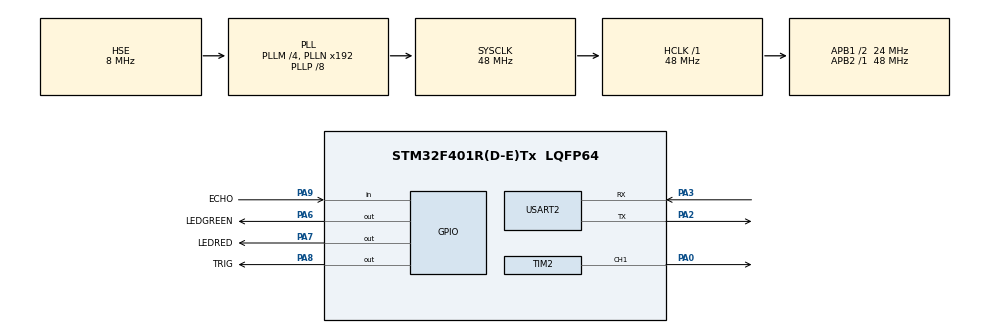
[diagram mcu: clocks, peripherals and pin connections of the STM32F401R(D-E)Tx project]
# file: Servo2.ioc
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Mcu.Family=STM32F4
Mcu.Name=STM32F401R(D-E)Tx
Mcu.Package=LQFP64
NVIC.PriorityGroup=NVIC_PRIORITYGROUP_0
NVIC.USART2_IRQn=true\:0\:0\:false\:false\:true\:true\:true\:true
PA0-WKUP.Signal=S_TIM2_CH1_ETR
PA13.Mode=Serial_Wire
PA13.Signal=SYS_JTMS-SWDIO
PA14.Mode=Serial_Wire
PA14.Signal=SYS_JTCK-SWCLK
PA2.Mode=Asynchronous
PA2.Signal=USART2_TX
PA3.Mode=Asynchronous
PA3.Signal=USART2_RX
PA6.GPIO_Label=LEDGREEN
PA6.Signal=GPIO_Output
PA7.GPIO_Label=LEDRED
PA7.Signal=GPIO_Output
PA8.GPIO_Label=TRIG
PA8.Signal=GPIO_Output
PA9.GPIO_Label=ECHO
PA9.Signal=GPIO_Input
PC14-OSC32_IN.Mode=LSE-External-Oscillator
PC14-OSC32_IN.Signal=RCC_OSC32_IN
PC15-OSC32_OUT.Mode=LSE-External-Oscillator
PC15-OSC32_OUT.Signal=RCC_OSC32_OUT
PH0\ -\ OSC_IN.Mode=HSE-External-Oscillator
PH0\ -\ OSC_IN.Signal=RCC_OSC_IN
PH1\ -\ OSC_OUT.Mode=HSE-External-Oscillator
PH1\ -\ OSC_OUT.Signal=RCC_OSC_OUT
ProjectManager.HeapSize=0x200
ProjectManager.StackSize=0x400
ProjectManager.TargetToolchain=STM32CubeIDE
RCC.48MHZClocksFreq_Value=54857142.85714286
RCC.AHBFreq_Value=48000000
RCC.APB1CLKDivider=RCC_HCLK_DIV2
RCC.APB1Freq_Value=24000000
RCC.APB1TimFreq_Value=48000000
RCC.APB2Freq_Value=48000000
RCC.APB2TimFreq_Value=48000000
RCC.CortexFreq_Value=48000000
RCC.HCLKFreq_Value=48000000
RCC.HSE_VALUE=8000000
RCC.HSI_VALUE=16000000
RCC.PLLM=4
RCC.PLLP=RCC_PLLP_DIV8
RCC.PLLQ=7
RCC.PLLSourceVirtual=RCC_PLLSOURCE_HSE
RCC.SYSCLKFreq_VALUE=48000000
RCC.SYSCLKSource=RCC_SYSCLKSOURCE_PLLCLK
RCC.VCOOutputFreq_Value=384000000
SH.S_TIM2_CH1_ETR.0=TIM2_CH1,PWM Generation1 CH1
TIM2.Channel-PWM\ Generation1\ CH1=TIM_CHANNEL_1
TIM2.Period=1000
TIM2.Prescaler=960-1
TIM4.Prescaler=48-1
USART2.VirtualMode=VM_ASYNC
VP_TIM2_VS_ClockSourceINT.Mode=Internal
VP_TIM4_VS_ClockSourceINT.Mode=Internal
board=NUCLEO-F401RE

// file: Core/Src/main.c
/* USER CODE BEGIN Header */
/**
  ******************************************************************************
  * @file           : main.c
  * @brief          : Main program body
  ******************************************************************************
  * @attention
  *
  * Copyright (c) 2022 STMicroelectronics.
  * All rights reserved.
  *
  * This software is licensed under terms that can be found in the LICENSE file
  * in the root directory of this software component.
  * If no LICENSE file comes with this software, it is provided AS-IS.
  *
  ******************************************************************************
  */
/* USER CODE END Header */
#include "main.h"

/* USER CODE BEGIN Includes */
#include <string.h>
#include <stdio.h>
/* USER CODE END Includes */

/* USER CODE BEGIN PTD */
#define usTIM TIM4

/* USER CODE END PTD */

TIM_HandleTypeDef htim2;
TIM_HandleTypeDef htim4;

UART_HandleTypeDef huart2;

void SystemClock_Config(void);
static void MX_GPIO_Init(void);
static void MX_TIM2_Init(void);
static void MX_TIM4_Init(void);
static void MX_USART2_UART_Init(void);
/* USER CODE BEGIN PFP */

//function contain an argument an int value : uint32_t ...;  Valeur entre 0 et 4 294 967 295
void usDelay(uint32_t uSec );

/* USER CODE END PFP */

/* USER CODE BEGIN 0 */

//Speed of sound in cm/usec
//the onde will be go and back so 2 routes that's why we divide it by 2
const float speedOfSound = 0.0343/2;
float distance;

char uartBuf[100];

/* USER CODE END 0 */

int main(void)
{
  /* USER CODE BEGIN 1 */
	uint32_t numTicks = 0;

  /* USER CODE END 1 */

  /* MCU Configuration--------------------------------------------------------*/

  /* Reset of all peripherals, Initializes the Flash interface and the Systick. */
  HAL_Init();

  /* Configure the system clock */
  SystemClock_Config();

  /* Initialize all configured peripherals */
  MX_GPIO_Init();
  MX_TIM2_Init();
  MX_TIM4_Init();
  MX_USART2_UART_Init();
  /* USER CODE BEGIN 2 */
  //working on timer for ch2
  HAL_TIM_PWM_Start(&htim2, TIM_CHANNEL_1);

  /* USER CODE END 2 */

  /* Infinite loop */
  /* USER CODE BEGIN WHILE */
  while (1)
  {
	  //ULTRASon Configuration
		HAL_GPIO_WritePin(TRIG_GPIO_Port, TRIG_Pin, GPIO_PIN_RESET);
				usDelay(3);

				//*** START Ultrasonic measure routine ***//
				//1. Output 10 usec TRIG
				HAL_GPIO_WritePin(TRIG_GPIO_Port, TRIG_Pin, GPIO_PIN_SET);
				usDelay(10);
				HAL_GPIO_WritePin(TRIG_GPIO_Port, TRIG_Pin, GPIO_PIN_RESET);

				//2. Wait for ECHO pin rising edge
				while(HAL_GPIO_ReadPin(ECHO_GPIO_Port, ECHO_Pin) == GPIO_PIN_RESET);

				//3. Start measuring ECHO pulse width in usec
				numTicks = 0;
				while(HAL_GPIO_ReadPin(ECHO_GPIO_Port, ECHO_Pin) == GPIO_PIN_SET)
				{
					numTicks++;
					usDelay(2); //2.8usec
				};

				//4. Estimate distance in cm
				distance = (numTicks + 0.0f)*2.8*speedOfSound;

				//5. Print to UART terminal for debugging
				sprintf(uartBuf, "Distance (cm)  = %.1f\r\n", distance);
				HAL_UART_Transmit(&huart2, (uint8_t *)uartBuf, strlen(uartBuf), 100);

				HAL_Delay(1000);
				//Set TRIG to LOW for few uSec
					HAL_GPIO_WritePin(TRIG_GPIO_Port, TRIG_Pin, GPIO_PIN_RESET);
					usDelay(3);

if(distance<300){
	//Blink led RED at this Condition
	HAL_GPIO_WritePin(LEDRED_GPIO_Port, LEDRED_Pin, GPIO_PIN_SET);
	HAL_GPIO_WritePin(LEDGREEN_GPIO_Port, LEDGREEN_Pin, GPIO_PIN_RESET);
	sprintf(uartBuf, "Le parking1 est Occuppee \n ");

//the Servo Motor configuration
		HAL_UART_Transmit(&huart2, (uint8_t *)uartBuf, strlen(uartBuf), 100);
	  //CCR1  register correspond au cycle du signal pwm
htim2.Instance->CCR1=25; //0.5ms
 HAL_Delay(2000);

htim2.Instance->CCR1=50; //1.5ms
 HAL_Delay(2000);

htim2.Instance->CCR1=75; //2.5ms
 HAL_Delay(2000);

 htim2.Instance->CCR1=100; //2.5ms
  HAL_Delay(2000);

  htim2.Instance->CCR1=125; //2.5ms
   HAL_Delay(2000);

  }
else{
	//Blink led Green at this condition
	HAL_GPIO_WritePin(LEDGREEN_GPIO_Port, LEDGREEN_Pin, GPIO_PIN_SET);
	HAL_GPIO_WritePin(LEDRED_GPIO_Port, LEDRED_Pin, GPIO_PIN_RESET);
	sprintf(uartBuf, "Le parking est disponible \n");
	HAL_UART_Transmit(&huart2, (uint8_t *)uartBuf, strlen(uartBuf), 100);

}
  }
    /* USER CODE END WHILE */

}

void SystemClock_Config(void)
{
  RCC_OscInitTypeDef RCC_OscInitStruct = {0};
  RCC_ClkInitTypeDef RCC_ClkInitStruct = {0};

  /** Configure the main internal regulator output voltage
  */
  __HAL_RCC_PWR_CLK_ENABLE();
  __HAL_PWR_VOLTAGESCALING_CONFIG(PWR_REGULATOR_VOLTAGE_SCALE2);

  /** Initializes the RCC Oscillators according to the specified parameters
  * in the RCC_OscInitTypeDef structure.
  */
  RCC_OscInitStruct.OscillatorType = RCC_OSCILLATORTYPE_HSE;
  RCC_OscInitStruct.HSEState = RCC_HSE_ON;
  RCC_OscInitStruct.PLL.PLLState = RCC_PLL_ON;
  RCC_OscInitStruct.PLL.PLLSource = RCC_PLLSOURCE_HSE;
  RCC_OscInitStruct.PLL.PLLM = 4;
  RCC_OscInitStruct.PLL.PLLN = 192;
  RCC_OscInitStruct.PLL.PLLP = RCC_PLLP_DIV8;
  RCC_OscInitStruct.PLL.PLLQ = 7;
  if (HAL_RCC_OscConfig(&RCC_OscInitStruct) != HAL_OK)
  {
    Error_Handler();
  }

  /** Initializes the CPU, AHB and APB buses clocks
  */
  RCC_ClkInitStruct.ClockType = RCC_CLOCKTYPE_HCLK|RCC_CLOCKTYPE_SYSCLK
                              |RCC_CLOCKTYPE_PCLK1|RCC_CLOCKTYPE_PCLK2;
  RCC_ClkInitStruct.SYSCLKSource = RCC_SYSCLKSOURCE_PLLCLK;
  RCC_ClkInitStruct.AHBCLKDivider = RCC_SYSCLK_DIV1;
  RCC_ClkInitStruct.APB1CLKDivider = RCC_HCLK_DIV2;
  RCC_ClkInitStruct.APB2CLKDivider = RCC_HCLK_DIV1;

  if (HAL_RCC_ClockConfig(&RCC_ClkInitStruct, FLASH_LATENCY_1) != HAL_OK)
  {
    Error_Handler();
  }
}

static void MX_TIM2_Init(void)
{

  TIM_ClockConfigTypeDef sClockSourceConfig = {0};
  TIM_MasterConfigTypeDef sMasterConfig = {0};
  TIM_OC_InitTypeDef sConfigOC = {0};

  htim2.Instance = TIM2;
  htim2.Init.Prescaler = 960-1;
  htim2.Init.CounterMode = TIM_COUNTERMODE_UP;
  htim2.Init.Period = 1000;
  htim2.Init.ClockDivision = TIM_CLOCKDIVISION_DIV1;
  htim2.Init.AutoReloadPreload = TIM_AUTORELOAD_PRELOAD_DISABLE;
  if (HAL_TIM_Base_Init(&htim2) != HAL_OK)
  {
    Error_Handler();
  }
  sClockSourceConfig.ClockSource = TIM_CLOCKSOURCE_INTERNAL;
  if (HAL_TIM_ConfigClockSource(&htim2, &sClockSourceConfig) != HAL_OK)
  {
    Error_Handler();
  }
  if (HAL_TIM_PWM_Init(&htim2) != HAL_OK)
  {
    Error_Handler();
  }
  sMasterConfig.MasterOutputTrigger = TIM_TRGO_RESET;
  sMasterConfig.MasterSlaveMode = TIM_MASTERSLAVEMODE_DISABLE;
  if (HAL_TIMEx_MasterConfigSynchronization(&htim2, &sMasterConfig) != HAL_OK)
  {
    Error_Handler();
  }
  sConfigOC.OCMode = TIM_OCMODE_PWM1;
  sConfigOC.Pulse = 0;
  sConfigOC.OCPolarity = TIM_OCPOLARITY_HIGH;
  sConfigOC.OCFastMode = TIM_OCFAST_DISABLE;
  if (HAL_TIM_PWM_ConfigChannel(&htim2, &sConfigOC, TIM_CHANNEL_1) != HAL_OK)
  {
    Error_Handler();
  }
  HAL_TIM_MspPostInit(&htim2);

}

static void MX_TIM4_Init(void)
{

  TIM_ClockConfigTypeDef sClockSourceConfig = {0};
  TIM_MasterConfigTypeDef sMasterConfig = {0};

  htim4.Instance = TIM4;
  htim4.Init.Prescaler = 48-1;
  htim4.Init.CounterMode = TIM_COUNTERMODE_UP;
  htim4.Init.Period = 65535;
  htim4.Init.ClockDivision = TIM_CLOCKDIVISION_DIV1;
  htim4.Init.AutoReloadPreload = TIM_AUTORELOAD_PRELOAD_DISABLE;
  if (HAL_TIM_Base_Init(&htim4) != HAL_OK)
  {
    Error_Handler();
  }
  sClockSourceConfig.ClockSource = TIM_CLOCKSOURCE_INTERNAL;
  if (HAL_TIM_ConfigClockSource(&htim4, &sClockSourceConfig) != HAL_OK)
  {
    Error_Handler();
  }
  sMasterConfig.MasterOutputTrigger = TIM_TRGO_RESET;
  sMasterConfig.MasterSlaveMode = TIM_MASTERSLAVEMODE_DISABLE;
  if (HAL_TIMEx_MasterConfigSynchronization(&htim4, &sMasterConfig) != HAL_OK)
  {
    Error_Handler();
  }

}

static void MX_USART2_UART_Init(void)
{

  huart2.Instance = USART2;
  huart2.Init.BaudRate = 115200;
  huart2.Init.WordLength = UART_WORDLENGTH_8B;
  huart2.Init.StopBits = UART_STOPBITS_1;
  huart2.Init.Parity = UART_PARITY_NONE;
  huart2.Init.Mode = UART_MODE_TX_RX;
  huart2.Init.HwFlowCtl = UART_HWCONTROL_NONE;
  huart2.Init.OverSampling = UART_OVERSAMPLING_16;
  if (HAL_UART_Init(&huart2) != HAL_OK)
  {
    Error_Handler();
  }

}

static void MX_GPIO_Init(void)
{
  GPIO_InitTypeDef GPIO_InitStruct = {0};

  /* GPIO Ports Clock Enable */
  __HAL_RCC_GPIOC_CLK_ENABLE();
  __HAL_RCC_GPIOH_CLK_ENABLE();
  __HAL_RCC_GPIOA_CLK_ENABLE();

  /*Configure GPIO pin Output Level */
  HAL_GPIO_WritePin(GPIOA, LEDGREEN_Pin|LEDRED_Pin|TRIG_Pin, GPIO_PIN_RESET);

  /*Configure GPIO pins : LEDGREEN_Pin LEDRED_Pin TRIG_Pin */
  GPIO_InitStruct.Pin = LEDGREEN_Pin|LEDRED_Pin|TRIG_Pin;
  GPIO_InitStruct.Mode = GPIO_MODE_OUTPUT_PP;
  GPIO_InitStruct.Pull = GPIO_NOPULL;
  GPIO_InitStruct.Speed = GPIO_SPEED_FREQ_LOW;
  HAL_GPIO_Init(GPIOA, &GPIO_InitStruct);

  /*Configure GPIO pin : ECHO_Pin */
  GPIO_InitStruct.Pin = ECHO_Pin;
  GPIO_InitStruct.Mode = GPIO_MODE_INPUT;
  GPIO_InitStruct.Pull = GPIO_NOPULL;
  HAL_GPIO_Init(ECHO_GPIO_Port, &GPIO_InitStruct);

}

/* USER CODE BEGIN 4 */
void usDelay(uint32_t uSec)
{
	if(uSec < 2) uSec = 2;
	usTIM->ARR = uSec - 1; 	/*sets the value in the auto-reload register*/
	usTIM->EGR = 1; 			/*Re-initialises the timer*/
	usTIM->SR &= ~1; 		//Resets the flag
	usTIM->CR1 |= 1; 		//Enables the counter
	while((usTIM->SR&0x0001) != 1);
	usTIM->SR &= ~(0x0001);
}
/* USER CODE END 4 */

void Error_Handler(void)
{
  __disable_irq();
  while (1)
  {
  }
}
